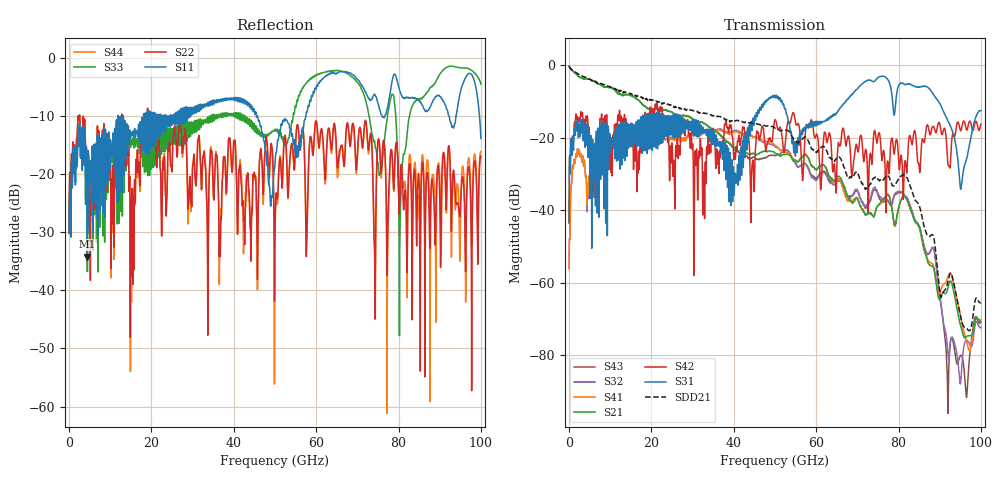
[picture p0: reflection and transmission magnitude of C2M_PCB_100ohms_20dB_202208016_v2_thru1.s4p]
! Info: Touchstone file created by Circ.  Input file=Intel_C2M_200G_7p0in_202208016_staggered.circ
# Hz S RI R 50
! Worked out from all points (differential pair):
!   10000 points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, 10 MHz to 100 GHz, reference 50 ohm
!   strongest paths, dB at 10 MHz, 25.01 GHz, 50.01 GHz, 75.01 GHz, 100 GHz:
!     S31: -43.5, -15.6, -8.5, -3.4, -12.5
!     S42: -43.5, -21.5, -15.0, -19.6, -16.3
!     S21: -0.3, -13.0, -24.3, -38.9, -70.8
!     S41: -56.1, -20.2, -22.1, -38.8, -70.2
!     S32: -56.1, -19.9, -22.5, -35.5, -72.5
!     S43: -0.3, -13.0, -25.0, -35.9, -70.9
!   taken as a pair (ports 1,3 in; 2,4 out), SDD21 dB: -0.2, -11.1, -17.4, -31.6, -65.5
!   lowest |S11| = -34.2 dB at 4.45 GHz (marker M1), VSWR 1.04, Z = 50.2 - j1.94 ohm
!   |S11| at or under -10 dB: start of sweep to 11.89 GHz; 13.16 GHz to 18.08 GHz (4.911 GHz wide, 31.4 % of centre); 45.73 GHz to 57.47 GHz (11.74 GHz wide, 22.8 % of centre)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
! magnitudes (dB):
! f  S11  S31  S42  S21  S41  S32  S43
! 10 MHz  -30.2  -43.5  -43.5  -0.3  -56.1  -56.1  -0.3
! 1.62 GHz  -18.8  -15.6  -13.7  -2.3  -24.7  -24.7  -2.3
! 4.45 GHz  -34.2  -16.0  -14.0  -3.8  -34.3  -35.0  -3.8
! 44 GHz  -8.2  -19.3  -31.6  -24.6  -19.4  -19.1  -25.8
! 80.86 GHz  -6.7  -4.9  -27.0  -36.5  -36.7  -35.0  -35.3
! 91.92 GHz  -9.2  -15.2  -26.4  -61.8  -58.7  -78.5  -90.2
! 100 GHz  -13.9  -12.5  -16.3  -70.8  -70.2  -72.5  -70.9
